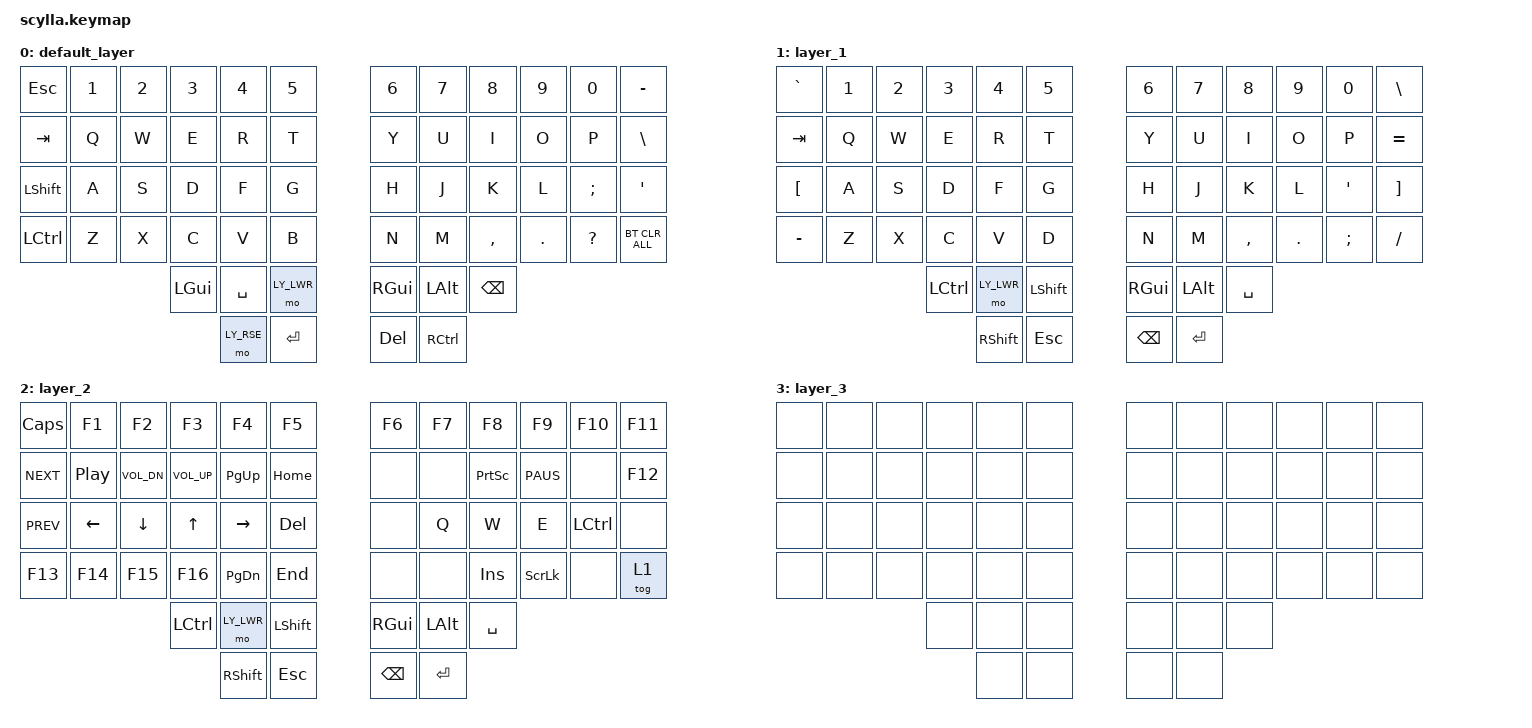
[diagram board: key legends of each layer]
#include <behaviors.dtsi>
#include <dt-bindings/zmk/keys.h>
#include <dt-bindings/zmk/bt.h>

#define LY_DEFAULT 0
#define LY_LWR 1
#define LY_RSE 2
#define LY_ADJ 3

/ {
    keymap {
        compatible = "zmk,keymap";

        default_layer {
// Base layer
// --------------------------------------------------------------------------------------------------------------------
// |  ESC  |   1   |   2   |   3   |   4   |   5   |            |   6   |   7   |   8   |   9   |   0   |   -      |
// |  TAB  |   Q   |   W   |   E   |   R   |   T   |            |   Y   |   U   |   I   |   O   |   P   |   |      |
// | SHIFT |   A   |   S   |   D   |   F   |   G   |            |   H   |   J   |   K   |   L   |   ;   |   '      |
// | CTRL  |   Z   |   X   |   C   |   V   |   B   |            |   N   |   M   |   ,   |   .   |   ?   | BT CLEAR |
//                         |  GUI  | SPACE | LOWER |            | RAISE | ENTER | RAISE |  
//                                 | ALT   |  BSPC |            |  DEL  |  CTRL |
            bindings = <
&kp ESC     &kp N1  &kp N2  &kp N3      &kp N4      &kp N5      &kp N6      &kp N7       &kp N8       &kp N9     &kp N0       &kp MINUS
&kp TAB     &kp Q   &kp W   &kp E       &kp R       &kp T       &kp Y       &kp U        &kp I        &kp O      &kp P        &kp BSLH
&kp LSHFT   &kp A   &kp S   &kp D       &kp F       &kp G       &kp H       &kp J        &kp K        &kp L      &kp SEMI     &kp SQT
&kp LCTRL   &kp Z   &kp X   &kp C       &kp V       &kp B       &kp N       &kp M        &kp COMMA    &kp DOT    &kp QMARK    &bt BT_CLR_ALL
                            &kp LGUI    &kp SPACE   &mo LY_LWR  &mo LY_RSE  &kp ENTER    &kp RGUI 
                                        &kp LALT    &kp BSPC    &kp DEL     &kp RCTRL
            >;
        };

        layer_1 { // Qwerty layer
            bindings = <
                &kp GRAVE   &kp N1      &kp N2      &kp N3      &kp N4      &kp N5      &kp N6      &kp N7      &kp N8      &kp N9      &kp N0      &kp BSLH
                &kp TAB     &kp Q       &kp W       &kp E       &kp R       &kp T       &kp Y       &kp U       &kp I       &kp O       &kp P       &kp EQUAL
                &kp LBKT    &kp A       &kp S       &kp D       &kp F       &kp G       &kp H       &kp J       &kp K       &kp L       &kp SQT    &kp RBKT
                &kp MINUS   &kp Z       &kp X       &kp C       &kp V       &kp D       &kp N       &kp M       &kp COMMA   &kp DOT     &kp SEMI   &kp FSLH
                                &kp LCTRL   &mo LY_LWR  &kp LSHFT   &kp RSHFT   &kp ESC     &kp RGUI 
                                            &kp LALT    &kp SPACE   &kp BSPC    &kp ENTER
            >;
        };

        layer_2 { // Function and Media Keys layer
            bindings = <
                &kp CAPS      &kp F1      &kp F2      &kp F3      &kp F4      &kp F5      &kp F6      &kp F7      &kp F8      &kp F9      &kp F10     &kp F11
                &kp C_NEXT    &kp C_PP   &kp C_VOL_DN   &kp C_VOL_UP   &kp PG_UP    &kp HOME   &none      &none      &kp PSCRN   &kp PAUS    &none  &kp F12
                &kp C_PREV    &kp LEFT    &kp DOWN   &kp UP      &kp RIGHT   &kp DEL   &none       &kp Q     &kp W     &kp E     &kp LCTRL      &none
                &kp F13     &kp F14    &kp F15    &kp F16    &kp PG_DN   &kp END   &none      &none     &kp INS    &kp SLCK   &none     &tog 1
                                &kp LCTRL   &mo LY_LWR  &kp LSHFT   &kp RSHFT  &kp ESC    &kp RGUI 
                                            &kp LALT   &kp SPACE  &kp BSPC    &kp ENTER
            >;
        };

        layer_3 { // Empty layer
            bindings = <
                &none   &none   &none   &none   &none   &none   &none   &none   &none   &none   &none   &none
                &none   &none   &none   &none   &none   &none   &none   &none   &none   &none   &none   &none
                &none   &none   &none   &none   &none   &none   &none   &none   &none   &none   &none   &none
                &none   &none   &none   &none   &none   &none   &none   &none   &none   &none   &none   &none
                                        &none   &none   &none   &none   &none   &none
                                                &none   &none   &none   &none
            >;
        };
    };
};
